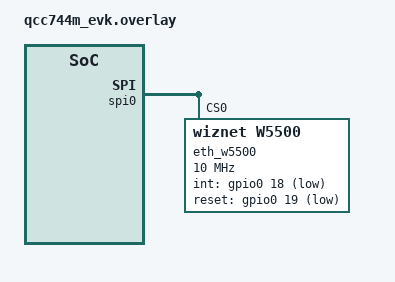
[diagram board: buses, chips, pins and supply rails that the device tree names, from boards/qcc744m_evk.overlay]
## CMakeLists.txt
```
# Copyright (c) 2026 Qualcomm Technologies, Inc. and/or its subsidiaries
# SPDX-License-Identifier: BSD-3-Clause

cmake_minimum_required(VERSION 3.20.0)

find_package(Zephyr REQUIRED HINTS $ENV{ZEPHYR_BASE})
project(demo_ethernet_ww5500)
target_sources(app PRIVATE src/main.c)
```

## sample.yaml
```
# Copyright (c) 2026 Qualcomm Technologies, Inc. and/or its subsidiaries
# SPDX-License-Identifier: BSD-3-Clause

sample:
  name: W5500 SPI Ethernet smoke test for QCC7xx

common:
  tags:
    - net
    - ethernet
    - netif:eth
  timeout: 30
  harness: console
  harness_config:
    type: multi_line
    ordered: true
    regex:
      - "W5500 SMOKE TEST PASSED"

tests:
  qcc7xx.sample.net.ethernet.ww5500:
    platform_allow:
      - qcc744m_evk
      - qcc748m_evk
```

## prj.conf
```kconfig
# Copyright (c) 2026 Qualcomm Technologies, Inc. and/or its subsidiaries
# SPDX-License-Identifier: BSD-3-Clause

# Networking
CONFIG_NETWORKING=y
CONFIG_NET_L2_ETHERNET=y
CONFIG_NET_IPV4=y
CONFIG_NET_IPV6=n
CONFIG_NET_SOCKETS=y
CONFIG_POSIX_API=y
CONFIG_NET_CONNECTION_MANAGER=y
CONFIG_NET_TCP=y
CONFIG_NET_UDP=y
CONFIG_NET_ARP=y
CONFIG_NET_MGMT=y
CONFIG_NET_MGMT_EVENT=y

# stack
CONFIG_NET_CONNECTION_MANAGER_MONITOR_STACK_SIZE=2048

# dhcp4
CONFIG_NET_DHCPV4=y
CONFIG_DNS_RESOLVER=y
CONFIG_DNS_RESOLVER_MAX_SERVERS=4
CONFIG_NET_DHCPV4_OPTION_CALLBACKS=y
CONFIG_DNS_RESOLVER_ADDITIONAL_BUF_CTR=5
CONFIG_DNS_RESOLVER_ADDITIONAL_QUERIES=2
CONFIG_MDNS_RESOLVER=y
CONFIG_LLMNR_RESOLVER=n

# Network buffers
#CONFIG_NET_PKT_RX_COUNT=16
#CONFIG_NET_PKT_TX_COUNT=16
#CONFIG_NET_BUF_RX_COUNT=64
#CONFIG_NET_BUF_TX_COUNT=64
#CONFIG_NET_CONTEXT_NET_PKT_POOL=y
#CONFIG_NET_BUF_DATA_SIZE=1600
#CONFIG_NET_BUF_ALIGNMENT=32
#CONFIG_NET_TCP_MAX_RECV_WINDOW_SIZE=64240
#CONFIG_NET_TCP_MAX_SEND_WINDOW_SIZE=64240

# IP address options
#CONFIG_NET_IF_UNICAST_IPV6_ADDR_COUNT=3
#CONFIG_NET_IF_MCAST_IPV6_ADDR_COUNT=4
#CONFIG_NET_IF_UNICAST_IPV4_ADDR_COUNT=3
#CONFIG_NET_IF_MCAST_IPV4_ADDR_COUNT=4
#CONFIG_NET_MAX_CONTEXTS=20
#CONFIG_NET_MAX_CONN=20

# Number of socket descriptors
CONFIG_ZVFS_OPEN_MAX=16
CONFIG_ZVFS_POLL_MAX=16

# Kernel options
CONFIG_ENTROPY_GENERATOR=y
CONFIG_INIT_STACKS=y

# Shell
CONFIG_SHELL=y
CONFIG_SHELL_BACKEND_SERIAL=y
CONFIG_NET_SHELL=y
CONFIG_SLIP_STATISTICS=n

# zperf
CONFIG_NET_ZPERF=y

# Logging
CONFIG_PRINTK=y
CONFIG_NET_LOG=y
CONFIG_LOG=y
#CONFIG_NET_STATISTICS=y

# W5500 support
CONFIG_ETH_W5500=y
CONFIG_ETH_W5500_TIMEOUT=1000
CONFIG_SPI=y
# Workaround: GCC 14.3.0 -O2 generates code incompatible with this target;
# use -Os to reduce optimization aggressiveness.
CONFIG_COMPILER_OPT="-O2 -fno-tree-dse -fno-tree-dce -fno-tree-dominator-opts"
```

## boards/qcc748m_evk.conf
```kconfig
# Copyright (c) 2026 Qualcomm Technologies, Inc. and/or its subsidiaries
# SPDX-License-Identifier: BSD-3-Clause
```

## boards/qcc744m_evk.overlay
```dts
/*
 * Copyright (c) 2026 Qualcomm Technologies, Inc. and/or its subsidiaries
 *
 * SPDX-License-Identifier: BSD-3-Clause
 */

/ {
	aliases {
		ethernet0 = &eth_w5500;
	};

	chosen {
		zephyr,net-if-default = &eth_w5500;
	};
};

&pinctrl {
	status = "okay";
	spi0_default: spi0_default {
		group1 {
			pinmux = <GPIO13_SPI_SCLK>,
				<GPIO10_SPI_MISO>,
				<GPIO11_SPI_MOSI>,
				<GPIO12_SPI_SS>;
			bias-pull-up;
			drive-strength = <2>;
			input-schmitt-enable;
			input-enable;
		};
	};
};

&spi0 {
	status = "okay";
	pinctrl-0 = <&spi0_default>;
	pinctrl-names = "default";

	eth_w5500: eth-w5500@0 {
		compatible = "wiznet,w5500";
		reg = <0>;					/* CS = 0 */
		spi-max-frequency = <10000000>;			/* 20 MHz max, safe */
		int-gpios = <&gpio0 18 GPIO_ACTIVE_LOW>;	/* Adjust GPIO and polarity */
		reset-gpios = <&gpio0 19 GPIO_ACTIVE_LOW>;	/* Reset pin */

		/*zephyr,random-mac-address;*/			/* Generates MAC at boot */
		/*local-mac-address = [ 00 11 22 33 44 55 ];*/	/* Hardcode MAC address */
		status = "okay";
	};
};
```

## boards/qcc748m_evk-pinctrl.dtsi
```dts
/*
 * Copyright (c) 2026 Qualcomm Technologies, Inc. and/or its subsidiaries
 *
 * SPDX-License-Identifier: Apache-2.0
 */

&pinctrl {
	uart0_default: uart0_default {
		group1 {
			pinmux = <UART0_TXD_GPIO21>,
				 <UART0_RXD_GPIO22>;
			bias-pull-up;
			input-enable;
		};
	};

	uart0_sleep: uart0_sleep {
		group1 {
			pinmux = <UART0_TXD_GPIO21>,
				 <UART0_RXD_GPIO22>;
			bias-disable;
		};
	};

	uart1_default: uart1_default {
		group1 {
			pinmux = <UART1_RXD_GPIO30>,
				 <UART1_TXD_GPIO29>,
				 <UART1_CTS_GPIO28>,
				 <UART1_RTS_GPIO27>;
			bias-pull-up;
			input-enable;
		};
	};

	uart1_sleep: uart1_sleep {
		group1 {
			pinmux = <UART1_RXD_GPIO30>,
				 <UART1_TXD_GPIO29>;
			bias-disable;
		};
	};

};
```

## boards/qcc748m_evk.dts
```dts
/*
 * Copyright (c) 2026 Qualcomm Technologies, Inc. and/or its subsidiaries
 *
 * SPDX-License-Identifier: Apache-2.0
 */

/dts-v1/;

#include <qcom/qcc74x/qcc748.dtsi>
#include <zephyr/dt-bindings/input/input-event-codes.h>
#include "qcc748m_evk-pinctrl.dtsi"

/ {
	model = "QCC748M Evaluation Kit";
	compatible = "qcom,qcc743";

	chosen {
		zephyr,flash = &flash0;
		zephyr,sram = &psram;
		zephyr,nocache = &nocache;
		zephyr,hbnram = &hbnram;
		zephyr,console = &uart0;
		zephyr,shell-uart = &uart0;
		zephyr,entropy = &trng0;
		zephyr,bt-hci = &bt_hci;
		zephyr,code-partition = &slot0_partition;
		zephyr,clock-controller = &clock0;
		zephyr,flash-controller = &flashctrl;
	};

	aliases {
		led0 = &led20;
		sw0 = &button_0;
		rtc = &rtc0;
		watchdog0 = &wdt0;
	};

	leds {
		compatible = "gpio-leds";
		led20: led_20 {
			gpios =  <&gpio0 20 GPIO_ACTIVE_HIGH>;
			label = "LED 20";
		};
	};

	buttons {
		compatible = "gpio-keys";
		button_0: sw0 {
			gpios = <&gpio0 2 (GPIO_PULL_DOWN | GPIO_ACTIVE_HIGH)>;
			zephyr,code = <INPUT_KEY_0>;
		};
	};
};

/ {
	coredump_device0: coredump-device0 {
		compatible = "zephyr,coredump";
		coredump-type = "COREDUMP_TYPE_MEMCPY";
		status = "okay";
	};
};

&flashctrl {
	flash0: flash@A0000000 {
		compatible = "soc-nv-flash";
		reg = <0xA0000000 DT_SIZE_K(8192 - 8)>;
		write-block-size = <32>;
		erase-block-size = <DT_SIZE_K(4)>;
		status = "okay";

		partitions {
			compatible = "fixed-partitions";
			#address-cells = <1>;
			#size-cells = <1>;

			boot_partition: partition@0 {
				label = "mcuboot";
				reg = <0x0 DT_SIZE_K(64)>;
			};

			slot0_partition: partition@10000 {
				label = "image-0";
				reg = <0x10000 DT_SIZE_K(1344)>;
			};

			slot1_partition: partition@1F0000 {
				label = "image-1";
				reg = <0x1F0000 DT_SIZE_K(1344)>;
			};

			storage_partition: partition@3C0000 {
				label = "storage";
				reg = <0x3C0000 DT_SIZE_K(128)>;
			};

			scratch_partition: partition@3E0000 {
				label = "image-scratch";
				reg = <0x3E0000 DT_SIZE_K(64)>;
			};

			coredump_partition: partition@3F0000 {
				label = "coredump-partition";
				reg = <0x3F0000 DT_SIZE_K(4)>;
			};
		};
	};
};

&psram {
	status = "okay";
};

&uart0 {
	status = "okay";
	current-speed = <115200>;
	pinctrl-0 = <&uart0_default>;
	pinctrl-1 = <&uart0_sleep>;
	pinctrl-names = "default", "sleep";
};

&uart1 {
	status = "disabled";
	current-speed = <115200>;
	pinctrl-0 = <&uart1_default>;
	pinctrl-1 = <&uart1_sleep>;
	pinctrl-names = "default", "sleep";
};

&gpio1 {
	status = "okay";
};

&trng0 {
	status = "okay";
};

&timer0 {
	status = "disabled";
	counter-mode = <1>;
	preload-id = <0>;
	comp0-val = <1000000>;
	comp1-val = <10000000>;
	comp2-val = <0xFFFFFFFF>;
	preload-val = <0>;
};

&timer1 {
	status = "disabled";
	counter-mode = <1>;
	preload-id = <0>;
	comp0-val = <1000000>;
	comp1-val = <10000000>;
	comp2-val = <0xFFFFFFFF>;
	preload-val = <0>;
};

&comparator0 {
	vio_sel = <33>;
};

&comparator1 {
	vio_sel = <33>;
};

&wifi {
	compatible = "qcom,wifi";
	status = "okay";
};

/ {
	wifi_sta: wifi_sta {
		compatible = "qualcomm,qc7xx-wifi";
		status = "okay";
	};
	wifi_ap: wifi_ap {
		compatible = "qualcomm,qc7xx-wifi";
		status = "okay";
	};
};

&bt_hci {
	status = "okay";
};
```

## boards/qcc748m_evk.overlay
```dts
/*
 * Copyright (c) 2026 Qualcomm Technologies, Inc. and/or its subsidiaries
 *
 * SPDX-License-Identifier: BSD-3-Clause
 */

/ {
	aliases {
		ethernet0 = &eth_w5500;
	};

	chosen {
		zephyr,net-if-default = &eth_w5500;
	};
};

&pinctrl {
	status = "okay";
	spi0_default: spi0_default {
		group1 {
			pinmux = <SPI0_SCLK_GPIO13>,
				<SPI0_MISO_GPIO10>,
				<SPI0_MOSI_GPIO11>,
				<SPI0_SS_GPIO12>;
			bias-pull-up;
			drive-strength = <2>;
			input-schmitt-enable;
			input-enable;
		};
	};
};

&spi0 {
	status = "okay";
	pinctrl-0 = <&spi0_default>;
	pinctrl-names = "default";

	eth_w5500: eth-w5500@0 {
		compatible = "wiznet,w5500";
		reg = <0>;					/* CS = 0 */
		spi-max-frequency = <10000000>;			/* 20 MHz max, safe */
		int-gpios = <&gpio0 18 GPIO_ACTIVE_LOW>;	/* Adjust GPIO and polarity */
		reset-gpios = <&gpio0 19 GPIO_ACTIVE_LOW>;	/* Reset pin */

		/*zephyr,random-mac-address;*/			/* Generates MAC at boot */
		/*local-mac-address = [ 00 11 22 33 44 55 ];*/	/* Hardcode MAC address */
		status = "okay";
	};
};
```

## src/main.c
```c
/*
 * Copyright (c) 2026 Qualcomm Technologies, Inc. and/or its subsidiaries
 * SPDX-License-Identifier: BSD-3-Clause
 */

#include <zephyr/kernel.h>
#include <zephyr/device.h>
#include <zephyr/net/net_if.h>
#include <zephyr/net/net_core.h>
#include <zephyr/net/net_ip.h>
#include <zephyr/net/net_context.h>
#include <zephyr/net/net_mgmt.h>
#include <zephyr/logging/log.h>

#include <errno.h>
#include <stdio.h>

LOG_MODULE_REGISTER(net_dhcpv4_client_sample, LOG_LEVEL_DBG);

#define DHCP_OPTION_NTP (42)

static uint8_t ntp_server[4];
static struct net_mgmt_event_callback mgmt_cb;
static struct net_dhcpv4_option_callback dhcp_cb;

static void start_dhcpv4_client(struct net_if *iface, void *user_data)
{
	ARG_UNUSED(user_data);

	LOG_INF("Start on %s: index=%d", net_if_get_device(iface)->name,
		net_if_get_by_iface(iface));
	net_dhcpv4_start(iface);
}

static void handler(struct net_mgmt_event_callback *cb, uint64_t mgmt_event, struct net_if *iface)
{
	int i = 0;

	if (mgmt_event != NET_EVENT_IPV4_ADDR_ADD) {
		return;
	}

	for (i = 0; i < NET_IF_MAX_IPV4_ADDR; i++) {
		char buf[NET_IPV4_ADDR_LEN];

		if (iface->config.ip.ipv4->unicast[i].ipv4.addr_type != NET_ADDR_DHCP) {
			continue;
		}

		LOG_INF("   Address[%d]: %s", net_if_get_by_iface(iface),
			net_addr_ntop(AF_INET,
				      &iface->config.ip.ipv4->unicast[i].ipv4.address.in_addr, buf,
				      sizeof(buf)));
		LOG_INF("    Subnet[%d]: %s", net_if_get_by_iface(iface),
			net_addr_ntop(AF_INET, &iface->config.ip.ipv4->unicast[i].netmask, buf,
				      sizeof(buf)));
		LOG_INF("    Router[%d]: %s", net_if_get_by_iface(iface),
			net_addr_ntop(AF_INET, &iface->config.ip.ipv4->gw, buf, sizeof(buf)));
		LOG_INF("Lease time[%d]: %u seconds", net_if_get_by_iface(iface),
			iface->config.dhcpv4.lease_time);
	}
}

static void option_handler(struct net_dhcpv4_option_callback *cb, size_t length,
			   enum net_dhcpv4_msg_type msg_type, struct net_if *iface)
{
	char buf[NET_IPV4_ADDR_LEN];

	LOG_INF("DHCP Option %d: %s", cb->option,
		net_addr_ntop(AF_INET, cb->data, buf, sizeof(buf)));
}

int main(void)
{
	LOG_INF("Run dhcpv4 client");

	net_mgmt_init_event_callback(&mgmt_cb, (net_mgmt_event_handler_t)handler,
				     NET_EVENT_IPV4_ADDR_ADD);
	net_mgmt_add_event_callback(&mgmt_cb);

	net_dhcpv4_init_option_callback(&dhcp_cb, option_handler, DHCP_OPTION_NTP, ntp_server,
					sizeof(ntp_server));

	net_dhcpv4_add_option_callback(&dhcp_cb);

	net_if_foreach(start_dhcpv4_client, NULL);

	printk("W5500 SMOKE TEST PASSED\n");

	return 0;
}
```
